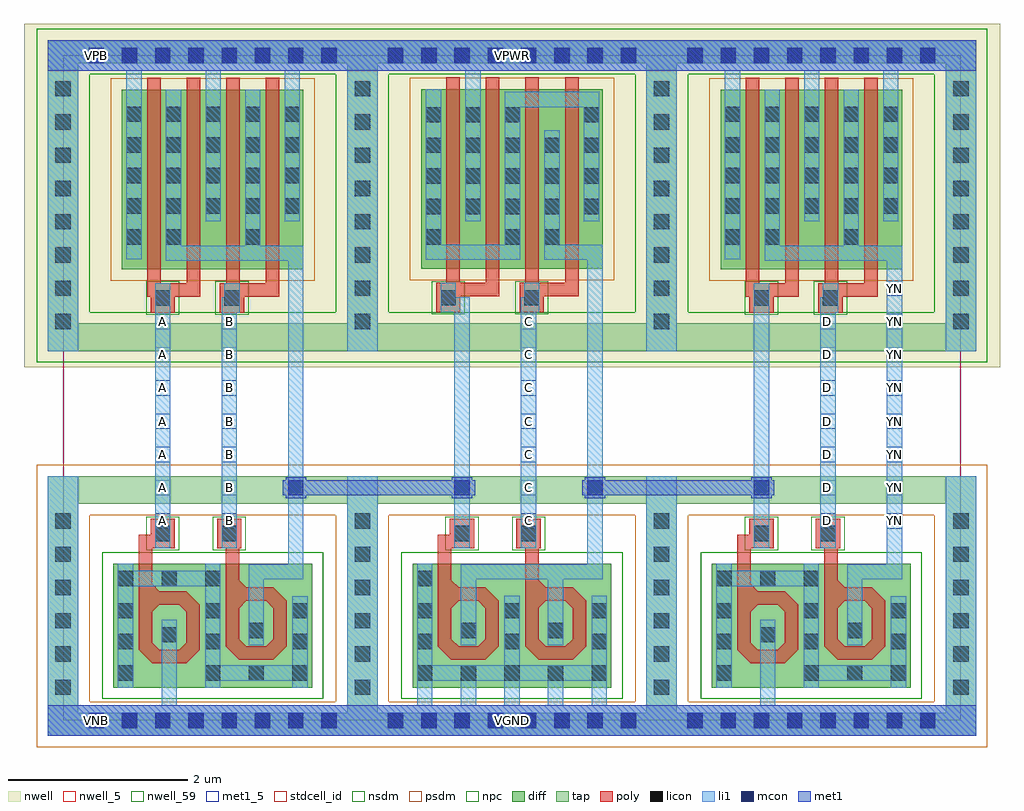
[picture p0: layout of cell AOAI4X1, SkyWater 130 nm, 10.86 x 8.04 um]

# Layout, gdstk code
from math import pi, radians
import gdstk
lib = gdstk.Library(unit=1e-6, precision=1e-09)
def R(c, l, rs):  # rectangles x0, y0, x1, y1
    for r in rs: c.add(gdstk.rectangle(r[:2], r[2:], *l))
def A(c, l, x, y, w, h, nx, ny, dx, dy):  # array of equal rectangles
    R(c, l, [(x+i*dx, y+j*dy, x+i*dx+w, y+j*dy+h) for i in range(nx) for j in range(ny)])
def P(c, l, *ps):  # polygons
    for p in ps: c.add(gdstk.Polygon(p, *l))
nwell_5 = (64, 5)
nwell = (64, 20)
nwell_59 = (64, 59)
diff = (65, 20)
tap = (65, 44)
poly = (66, 20)
licon = (66, 44)
li1 = (67, 20)
mcon = (67, 44)
met1_5 = (68, 5)
met1 = (68, 20)
stdcell_id = (81, 4)
nsdm = (93, 44)
psdm = (94, 20)
npc = (95, 20)

li1_m1_contact = lib.new_cell('li1_M1_contact')
R(li1_m1_contact, li1, [(-0.085,-0.165,0.085,0.165)])
R(li1_m1_contact, mcon, [(-0.085,-0.085,0.085,0.085)])
R(li1_m1_contact, met1, [(-0.115,-0.115,0.115,-0.085), (-0.265,-0.085,0.145,0.085), (-0.115,0.085,0.115,0.115)])

diff_ring_side = lib.new_cell('diff_ring_side')
R(diff_ring_side, nwell, [(-0.435,3.93,0.435,7.75)])
R(diff_ring_side, tap, [(-0.17,-0.17,0.17,2.72), (-0.17,4.11,0.17,7.57)])
A(diff_ring_side, licon, -0.085, 0.285, 0.17, 0.17, 1, 6, 0, 0.37)
A(diff_ring_side, licon, -0.085, 4.355, 0.17, 0.17, 1, 8, 0, 0.37)
R(diff_ring_side, li1, [(-0.17,-0.17,0.17,2.72), (-0.17,4.11,0.17,7.57)])
R(diff_ring_side, met1, [(-0.17,-0.17,0.17,0.17), (-0.17,7.23,0.17,7.57)])
R(diff_ring_side, nsdm, [(-0.295,3.985,0.295,7.695)])
R(diff_ring_side, psdm, [(-0.295,-0.295,0.295,2.845)])

nmos_bottom = lib.new_cell('nmos_bottom')
R(nmos_bottom, diff, [(0,0,1.24,1.38)])
R(nmos_bottom, poly, [(0.43,0.27,0.81,0.42), (0.28,0.42,0.43,0.925), (0.81,0.42,0.96,0.925), (0.43,0.925,0.96,1.075), (0.81,1.075,0.96,1.51)])
P(nmos_bottom, poly, [(0.73,1.075),(0.81,1.075),(0.81,1.155)],
  [(0.28,0.925),(0.43,0.925),(0.43,1.075)],
  [(0.43,0.845),(0.43,0.925),(0.51,0.925)],
  [(0.73,0.925),(0.81,0.925),(0.81,0.845)],
  [(0.43,0.5),(0.43,0.42),(0.51,0.42)],
  [(0.73,0.42),(0.81,0.42),(0.81,0.5)],
  [(0.28,0.42),(0.43,0.42),(0.43,0.27)],
  [(0.81,0.27),(0.81,0.42),(0.96,0.42)])
A(nmos_bottom, licon, 0.05, 1.13, 0.17, 0.17, 3, 1, 0.485, 0)
R(nmos_bottom, licon, [(0.05,0.08,0.22,0.25), (1.02,0.08,1.19,0.25), (0.05,0.43,0.22,0.6), (1.02,0.43,1.19,0.6), (0.535,0.505,0.705,0.675), (0.05,0.77,0.22,0.94), (1.02,0.77,1.19,0.94)])
R(nmos_bottom, li1, [(0.05,0,0.22,1.13), (1.02,0,1.19,1.13), (0.535,0.425,0.705,0.755), (0.05,1.13,1.19,1.3), (0.05,1.3,0.22,1.38), (1.02,1.3,1.19,1.38)])
R(nmos_bottom, nsdm, [(-0.125,-0.125,1.365,1.505)])

pmos2 = lib.new_cell('pmos2')
R(pmos2, nwell, [(0.26,-2.18,1.76,0.18)])
R(pmos2, diff, [(0.44,-2,1.58,0)])
R(pmos2, poly, [(0.72,-2.305,1.31,-2.155), (0.72,-2.155,0.87,0.13), (1.16,-2.155,1.31,0.13)])
A(pmos2, licon, 0.49, -1.38, 0.17, 0.17, 3, 4, 0.44, 0.34)
R(pmos2, li1, [(0.49,-1.465,0.66,0.21), (0.93,-1.465,1.1,0), (1.37,-1.465,1.54,0.21)])
R(pmos2, psdm, [(0.315,-2.125,1.705,0.125)])

poly_li1_contact = lib.new_cell('poly_li1_contact')
R(poly_li1_contact, poly, [(-0.16,-0.14,0.17,0.13)])
R(poly_li1_contact, licon, [(-0.08,-0.09,0.09,0.08)])
R(poly_li1_contact, li1, [(-0.16,-0.09,0.17,0.08)])
R(poly_li1_contact, npc, [(-0.18,-0.19,0.19,0.18)])

nmos_top_trim1 = lib.new_cell('nmos_top_trim1')
R(nmos_top_trim1, diff, [(0,0,1.24,1.38)])
R(nmos_top_trim1, poly, [(0.43,0.31,0.81,0.46), (0.28,0.46,0.43,0.965), (0.81,0.46,0.96,0.965), (0.43,0.965,0.96,1.115), (0.81,1.115,0.96,1.545)])
P(nmos_top_trim1, poly, [(0.73,1.115),(0.81,1.115),(0.81,1.195)],
  [(0.28,0.965),(0.43,0.965),(0.43,1.115)],
  [(0.43,0.885),(0.43,0.965),(0.51,0.965)],
  [(0.73,0.965),(0.81,0.965),(0.81,0.885)],
  [(0.43,0.54),(0.43,0.46),(0.51,0.46)],
  [(0.73,0.46),(0.81,0.46),(0.81,0.54)],
  [(0.28,0.46),(0.43,0.46),(0.43,0.31)],
  [(0.81,0.31),(0.81,0.46),(0.96,0.46)])
A(nmos_top_trim1, licon, 0.05, 0.08, 0.17, 0.17, 3, 1, 0.485, 0)
R(nmos_top_trim1, licon, [(0.05,0.43,0.22,0.6), (1.02,0.43,1.19,0.6), (0.535,0.55,0.705,0.72), (0.05,0.77,0.22,0.94), (1.02,0.77,1.19,0.94), (1.02,1.13,1.19,1.3)])
R(nmos_top_trim1, li1, [(0.05,0,0.22,0.08), (1.02,0,1.19,0.08), (0.05,0.08,1.19,0.25), (0.05,0.25,0.22,1.02), (1.02,0.25,1.19,1.38), (0.535,0.47,0.705,0.805)])
R(nmos_top_trim1, nsdm, [(-0.125,-0.125,1.365,1.505)])

nand2x1_pcell = lib.new_cell('nand2x1_pcell')
R(nand2x1_pcell, nwell, [(0.435,3.93,2.895,7.75)])
R(nand2x1_pcell, diff, [(0.705,5.295,0.875,5.465), (1.145,5.295,1.315,5.465), (2.025,5.295,2.195,5.465)])
R(nand2x1_pcell, tap, [(0.17,-0.17,3.16,-0.15), (0.155,-0.15,3.175,0.085), (0.155,2.4,0.17,2.41), (3.16,2.4,3.175,2.41), (0.155,2.41,3.175,2.71), (0.17,2.71,3.16,2.72), (0.17,4.11,3.16,4.42), (0.17,7.315,3.16,7.57)])
R(nand2x1_pcell, poly, [(0.84,1.875,0.99,2.065), (1.81,1.91,1.96,1.915)])
A(nand2x1_pcell, licon, 0.285, -0.085, 0.17, 0.17, 8, 2, 0.37, 7.4)
R(nand2x1_pcell, licon, [(0.705,5.295,0.875,5.465), (1.145,5.295,1.315,5.465), (2.025,5.295,2.195,5.465)])
R(nand2x1_pcell, li1, [(0.17,-0.17,3.16,-0.15), (0.155,-0.15,3.175,0.16), (0.17,0.16,3.16,0.17), (1.095,0.17,1.265,0.835), (2.065,1.165,2.235,1.57), (2.065,1.57,2.675,1.74), (2.505,1.74,2.675,5.115), (1.025,2.165,1.195,4.54), (1.765,2.165,1.785,2.205), (1.765,2.205,1.935,4.54), (1.765,4.54,1.805,4.71), (1.145,5.115,2.675,5.285), (0.705,5.135,0.875,5.555), (1.145,5.285,1.315,5.555), (2.025,5.285,2.195,5.555), (0.17,7.23,3.16,7.57)])
A(nand2x1_pcell, mcon, 0.285, -0.085, 0.17, 0.17, 8, 2, 0.37, 7.4)
R(nand2x1_pcell, met1, [(0.17,-0.17,3.16,-0.15), (0.155,-0.15,3.175,0.16), (0.17,0.16,3.16,0.17), (0.17,7.23,3.16,7.57)])
R(nand2x1_pcell, nsdm, [(0.045,3.985,3.285,4.545), (0.045,7.19,3.285,7.695)])
R(nand2x1_pcell, psdm, [(0.045,-0.295,3.285,-0.275), (0.03,-0.275,3.3,0.21), (0.03,2.275,0.295,2.285), (3.035,2.275,3.3,2.285), (0.03,2.285,3.3,2.835), (0.045,2.835,3.285,2.845), (0.58,5.17,1.44,5.59), (1.9,5.17,2.32,5.59)])
nand2x1_pcell.add(gdstk.Reference(diff_ring_side, (0,0)))
nand2x1_pcell.add(gdstk.Reference(nmos_bottom, (1.8,0.365), rotation=pi, x_reflection=True))
nand2x1_pcell.add(gdstk.Reference(pmos2, (0.215,7.02)))
nand2x1_pcell.add(gdstk.Reference(poly_li1_contact, (1.115,4.705), rotation=3*pi/2))
nand2x1_pcell.add(gdstk.Reference(poly_li1_contact, (1.115,2.085), rotation=3*pi/2))
nand2x1_pcell.add(gdstk.Reference(nmos_top_trim1, (2.77,0.365), rotation=pi, x_reflection=True))
nand2x1_pcell.add(gdstk.Reference(pmos2, (1.095,7.02)))
nand2x1_pcell.add(gdstk.Reference(poly_li1_contact, (1.845,2.075), rotation=pi/2))
nand2x1_pcell.add(gdstk.Reference(poly_li1_contact, (1.885,4.705), rotation=3*pi/2))
nand2x1_pcell.add(gdstk.Reference(diff_ring_side, (3.33,0)))

pmos2_1 = lib.new_cell('pmos2_1')
R(pmos2_1, nwell, [(0.26,-2.175,1.76,0.185)])
R(pmos2_1, diff, [(0.44,-1.995,1.58,0.005)])
R(pmos2_1, poly, [(0.72,-2.3,1.31,-2.15), (0.72,-2.15,0.87,0.135), (1.16,-2.15,1.31,0.135)])
A(pmos2_1, licon, 0.49, -1.385, 0.17, 0.17, 3, 3, 0.44, 0.34)
A(pmos2_1, li1, 0.49, -1.465, 0.17, 1.01, 3, 1, 0.44, 0)
R(pmos2_1, psdm, [(0.315,-2.12,1.705,0.13)])

nmos_top_trim2 = lib.new_cell('nmos_top_trim2')
R(nmos_top_trim2, diff, [(0,0,1.24,1.38)])
R(nmos_top_trim2, poly, [(0.43,0.31,0.81,0.46), (0.28,0.46,0.43,0.89), (0.81,0.46,0.96,0.89), (0.28,0.89,0.435,0.965), (0.805,0.89,0.96,0.965), (0.43,0.965,0.96,1.115), (0.81,1.115,0.96,1.545)])
P(nmos_top_trim2, poly, [(0.73,1.115),(0.81,1.115),(0.81,1.195)],
  [(0.28,0.965),(0.43,0.965),(0.43,1.115)],
  [(0.435,0.89),(0.435,0.965),(0.51,0.965)],
  [(0.73,0.965),(0.805,0.965),(0.805,0.89)],
  [(0.43,0.54),(0.43,0.46),(0.51,0.46)],
  [(0.73,0.46),(0.81,0.46),(0.81,0.54)],
  [(0.28,0.46),(0.43,0.46),(0.43,0.31)],
  [(0.81,0.31),(0.81,0.46),(0.96,0.46)])
A(nmos_top_trim2, licon, 0.05, 0.08, 0.17, 0.17, 3, 1, 0.485, 0)
R(nmos_top_trim2, licon, [(0.05,0.43,0.22,0.6), (1.02,0.43,1.19,0.6), (0.535,0.55,0.705,0.72), (0.05,0.77,0.22,0.94), (1.02,0.77,1.19,0.94)])
R(nmos_top_trim2, li1, [(0.05,0,0.22,0.08), (1.02,0,1.19,0.08), (0.05,0.08,1.19,0.25), (0.05,0.25,0.22,1.025), (1.02,0.25,1.19,1.025), (0.535,0.47,0.705,0.805)])
R(nmos_top_trim2, nsdm, [(-0.125,-0.125,1.365,1.505)])

nor2x1_pcell = lib.new_cell('nor2x1_pcell')
R(nor2x1_pcell, nwell, [(0.435,3.93,2.895,7.75)])
A(nor2x1_pcell, diff, 0.705, 6.655, 0.17, 0.17, 3, 1, 0.44, 0)
R(nor2x1_pcell, diff, [(0.705,5.295,0.875,5.465), (1.585,5.295,1.755,5.465), (2.025,5.295,2.195,5.465), (2.465,6.655,2.635,6.825)])
R(nor2x1_pcell, tap, [(0.17,-0.17,3.16,0.085), (0.17,2.41,3.16,2.72), (0.17,4.11,3.16,4.42), (0.17,7.315,3.16,7.57)])
R(nor2x1_pcell, poly, [(0.84,1.875,0.99,2.065), (1.81,1.91,1.96,1.915)])
A(nor2x1_pcell, licon, 0.285, -0.085, 0.17, 0.17, 8, 2, 0.37, 7.4)
A(nor2x1_pcell, licon, 0.705, 6.655, 0.17, 0.17, 3, 1, 0.44, 0)
R(nor2x1_pcell, licon, [(0.705,5.295,0.875,5.465), (1.585,5.295,1.755,5.465), (2.025,5.295,2.195,5.465), (2.465,6.655,2.635,6.825)])
A(nor2x1_pcell, li1, 0.61, 0.17, 0.17, 0.195, 3, 1, 0.97, 0)
R(nor2x1_pcell, li1, [(0.17,-0.17,3.16,0.17), (1.095,0.17,1.265,0.445), (2.065,0.17,2.235,0.445), (1.095,1.165,1.265,1.57), (2.065,1.165,2.235,1.57), (1.095,1.57,2.675,1.74), (2.505,1.74,2.675,5.125), (1.025,2.165,1.195,4.71), (1.765,2.165,1.785,2.205), (1.765,2.205,1.935,4.54), (1.765,4.54,1.805,4.71), (0.705,5.125,1.755,5.295), (2.025,5.125,2.675,5.295), (0.705,5.295,0.875,5.555), (1.585,5.295,1.755,5.555), (2.025,5.295,2.195,5.555), (0.705,6.565,0.875,7.025), (1.145,6.565,1.315,7.23), (1.585,6.565,1.755,6.825), (2.465,6.565,2.635,6.825), (1.585,6.825,2.635,6.995), (0.17,7.23,3.16,7.57)])
A(nor2x1_pcell, mcon, 0.285, -0.085, 0.17, 0.17, 8, 2, 0.37, 7.4)
R(nor2x1_pcell, met1, [(0.17,-0.17,3.16,0.17), (0.17,7.23,3.16,7.57)])
R(nor2x1_pcell, nsdm, [(0.045,3.985,3.285,4.545), (0.045,7.19,3.285,7.695)])
R(nor2x1_pcell, psdm, [(0.045,-0.295,3.285,0.21), (0.045,2.285,3.285,2.845), (0.58,5.17,1,5.59), (1.46,5.17,2.32,5.59), (0.58,6.53,1.88,6.95), (2.34,6.53,2.76,6.95)])
nor2x1_pcell.add(gdstk.Reference(diff_ring_side, (0,0)))
nor2x1_pcell.add(gdstk.Reference(nmos_top_trim1, (1.8,0.365), rotation=pi, x_reflection=True))
nor2x1_pcell.add(gdstk.Reference(pmos2_1, (0.215,7.02)))
nor2x1_pcell.add(gdstk.Reference(poly_li1_contact, (0.96,4.71), rotation=3*pi/2))
nor2x1_pcell.add(gdstk.Reference(poly_li1_contact, (1.115,2.085), rotation=3*pi/2))
nor2x1_pcell.add(gdstk.Reference(nmos_top_trim2, (2.77,0.365), rotation=pi, x_reflection=True))
nor2x1_pcell.add(gdstk.Reference(pmos2_1, (1.095,7.02)))
nor2x1_pcell.add(gdstk.Reference(poly_li1_contact, (1.845,2.075), rotation=pi/2))
nor2x1_pcell.add(gdstk.Reference(poly_li1_contact, (1.89,4.71), rotation=3*pi/2))
nor2x1_pcell.add(gdstk.Reference(diff_ring_side, (3.33,0)))

aoai4x1_pcell = lib.new_cell('aoai4x1_pcell')
R(aoai4x1_pcell, met1, [(2.685,2.505,4.205,2.675), (6.015,2.505,7.56,2.675)])
aoai4x1_pcell.add(gdstk.Reference(li1_m1_contact, (7.77,2.59)))
aoai4x1_pcell.add(gdstk.Reference(li1_m1_contact, (5.92,2.59), rotation=pi))
aoai4x1_pcell.add(gdstk.Reference(li1_m1_contact, (4.44,2.59)))
aoai4x1_pcell.add(gdstk.Reference(li1_m1_contact, (2.59,2.59), rotation=pi))
aoai4x1_pcell.add(gdstk.Reference(nand2x1_pcell, (0,0)))
aoai4x1_pcell.add(gdstk.Reference(nand2x1_pcell, (6.66,0)))
aoai4x1_pcell.add(gdstk.Reference(nor2x1_pcell, (3.33,0)))

aoai4x1 = lib.new_cell('AOAI4X1')
R(aoai4x1, nwell_5, [(0.285,7.315,0.455,7.485)])
R(aoai4x1, nwell, [(0.285,7.315,0.455,7.485)])
R(aoai4x1, nwell_59, [(0.285,-0.085,0.455,0.085)])
A(aoai4x1, li1, 1.025, 2.135, 0.17, 0.17, 1, 7, 0, 0.37)
A(aoai4x1, li1, 1.765, 2.135, 0.17, 0.17, 3, 7, 3.33, 0.37)
A(aoai4x1, li1, 9.165, 2.135, 0.17, 0.17, 1, 8, 0, 0.37)
A(aoai4x1, met1_5, 1.025, 2.135, 0.17, 0.17, 1, 7, 0, 0.37)
A(aoai4x1, met1_5, 1.765, 2.135, 0.17, 0.17, 3, 7, 3.33, 0.37)
A(aoai4x1, met1_5, 9.165, 2.135, 0.17, 0.17, 1, 8, 0, 0.37)
R(aoai4x1, met1_5, [(-0.17,-0.17,10.16,0.17), (-0.17,7.23,10.16,7.57)])
R(aoai4x1, met1, [(-0.17,-0.17,10.16,0.17), (-0.17,7.23,10.16,7.57)])
R(aoai4x1, stdcell_id, [(0,0,9.99,7.4)])
aoai4x1.add(gdstk.Reference(aoai4x1_pcell, (0,0)))
aoai4x1.add(gdstk.Label('YN', (9.25,2.96), layer=68, texttype=5))
aoai4x1.add(gdstk.Label('YN', (9.25,2.59), layer=68, texttype=5))
aoai4x1.add(gdstk.Label('YN', (9.25,2.22), layer=68, texttype=5))
aoai4x1.add(gdstk.Label('YN', (9.25,3.33), layer=68, texttype=5))
aoai4x1.add(gdstk.Label('YN', (9.25,3.7), layer=68, texttype=5))
aoai4x1.add(gdstk.Label('YN', (9.25,4.07), layer=68, texttype=5))
aoai4x1.add(gdstk.Label('YN', (9.25,4.44), layer=68, texttype=5))
aoai4x1.add(gdstk.Label('YN', (9.25,4.81), layer=68, texttype=5))
aoai4x1.add(gdstk.Label('A', (1.11,2.96), layer=68, texttype=5))
aoai4x1.add(gdstk.Label('A', (1.11,2.59), layer=68, texttype=5))
aoai4x1.add(gdstk.Label('A', (1.11,2.22), layer=68, texttype=5))
aoai4x1.add(gdstk.Label('A', (1.11,3.33), layer=68, texttype=5))
aoai4x1.add(gdstk.Label('A', (1.11,3.7), layer=68, texttype=5))
aoai4x1.add(gdstk.Label('A', (1.11,4.07), layer=68, texttype=5))
aoai4x1.add(gdstk.Label('A', (1.11,4.44), layer=68, texttype=5))
aoai4x1.add(gdstk.Label('B', (1.85,3.33), layer=68, texttype=5))
aoai4x1.add(gdstk.Label('B', (1.85,3.7), layer=68, texttype=5))
aoai4x1.add(gdstk.Label('B', (1.85,4.07), layer=68, texttype=5))
aoai4x1.add(gdstk.Label('B', (1.85,4.44), layer=68, texttype=5))
aoai4x1.add(gdstk.Label('B', (1.85,2.96), layer=68, texttype=5))
aoai4x1.add(gdstk.Label('B', (1.85,2.59), layer=68, texttype=5))
aoai4x1.add(gdstk.Label('B', (1.85,2.22), layer=68, texttype=5))
aoai4x1.add(gdstk.Label('C', (5.18,3.33), layer=68, texttype=5))
aoai4x1.add(gdstk.Label('C', (5.18,2.96), layer=68, texttype=5))
aoai4x1.add(gdstk.Label('C', (5.18,2.59), layer=68, texttype=5))
aoai4x1.add(gdstk.Label('C', (5.18,2.22), layer=68, texttype=5))
aoai4x1.add(gdstk.Label('C', (5.18,4.07), layer=68, texttype=5))
aoai4x1.add(gdstk.Label('C', (5.18,4.44), layer=68, texttype=5))
aoai4x1.add(gdstk.Label('C', (5.18,3.7), layer=68, texttype=5))
aoai4x1.add(gdstk.Label('D', (8.51,4.07), layer=68, texttype=5))
aoai4x1.add(gdstk.Label('D', (8.51,3.7), layer=68, texttype=5))
aoai4x1.add(gdstk.Label('D', (8.51,3.33), layer=68, texttype=5))
aoai4x1.add(gdstk.Label('D', (8.51,2.96), layer=68, texttype=5))
aoai4x1.add(gdstk.Label('D', (8.51,2.59), layer=68, texttype=5))
aoai4x1.add(gdstk.Label('D', (8.51,2.22), layer=68, texttype=5))
aoai4x1.add(gdstk.Label('D', (8.51,4.44), layer=68, texttype=5))
aoai4x1.add(gdstk.Label('VPWR', (4.995,7.4), layer=68, texttype=5))
aoai4x1.add(gdstk.Label('VGND', (4.995,0), layer=68, texttype=5))
aoai4x1.add(gdstk.Label('VPB', (0.37,7.4), layer=64, texttype=5))
aoai4x1.add(gdstk.Label('VNB', (0.37,0), layer=64, texttype=59))

lib.write_gds('AOAI4X1.gds')
